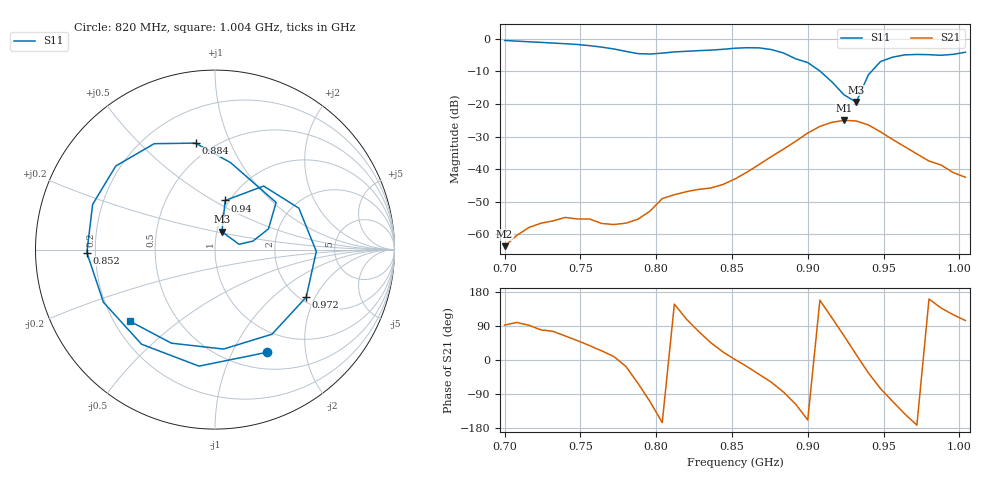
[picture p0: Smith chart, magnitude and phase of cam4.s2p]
# Hz S RI R 50
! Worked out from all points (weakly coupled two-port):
!   39 points, 700 MHz to 1.004 GHz, reference 50 ohm
!   highest |S21| = -25.04 dB at 924 MHz (marker M1); lowest = -63.6 dB at 700 MHz (marker M2)
!   lowest |S11| = -19.4 dB at 932 MHz (marker M3), VSWR 1.24, Z = 52.9 + j10.6 ohm
!   |S11| at or under -10 dB: 908.2 MHz to 942.1 MHz (33.88 MHz wide, 3.66 % of centre)
!   S12 and S22 are empty: the file has one direction only
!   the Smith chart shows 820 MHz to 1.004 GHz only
!   S11 on the Smith chart (normalised r, x): 820 MHz: 0.71, -1.37; 852 MHz: 0.17, -0.01; 884 MHz: 0.40, +0.75; 940 MHz: 0.96, +0.57; 972 MHz: 2.15, -1.70; 1.004 GHz: 0.26, -0.34
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7e8  0.7583 0.5539  -2.47e-05 0.000658  0 0  0 0
7.24e8  0.8427 -0.2445  0.000274 0.00146  0 0  0 0
7.4e8  0.4571 -0.701  0.000813 0.00162  0 0  0 0
7.56e8  -0.1922 -0.7575  0.00135 0.00106  0 0  0 0
7.72e8  -0.6654 -0.2028  0.0014 0.000228  0 0  0 0
7.8e8  -0.5986 0.2217  0.00142 -0.000436  0 0  0 0
7.96e8  0.2331 0.533  -0.000784 -0.00214  0 0  0 0
8.04e8  0.5701 0.1876  -0.00342 -0.0009  0 0  0 0
8.2e8  0.2874 -0.5728  -0.00136 0.00431  0 0  0 0
8.36e8  -0.409 -0.5273  0.00358 0.00368  0 0  0 0
8.52e8  -0.7141 -0.0168  0.00706 0.000168  0 0  0 0
8.68e8  -0.5527 0.4658  0.00926 -0.0073  0 0  0 0
8.84e8  -0.1084 0.5932  0.00189 -0.0202  0 0  0 0
9e8  0.3404 0.2625  -0.0333 -0.0132  0 0  0 0
9.08e8  0.2981 0.1156  -0.0417 0.0172  0 0  0 0
9.24e8  0.1341 0.0296  0.0251 0.05  0 0  0 0
9.32e8  0.0387 0.0994  0.0531 0.0133  0 0  0 0
9.4e8  0.0567 0.2738  0.0394 -0.0267  0 0  0 0
9.56e8  0.4673 0.2306  -0.00939 -0.0269  0 0  0 0
9.72e8  0.5083 -0.2647  -0.0169 -0.00242  0 0  0 0
9.88e8  0.0475 -0.5541  -0.00846 0.00785  0 0  0 0
1.004e9  -0.4758 -0.3981  -0.00184 0.00727  0 0  0 0
